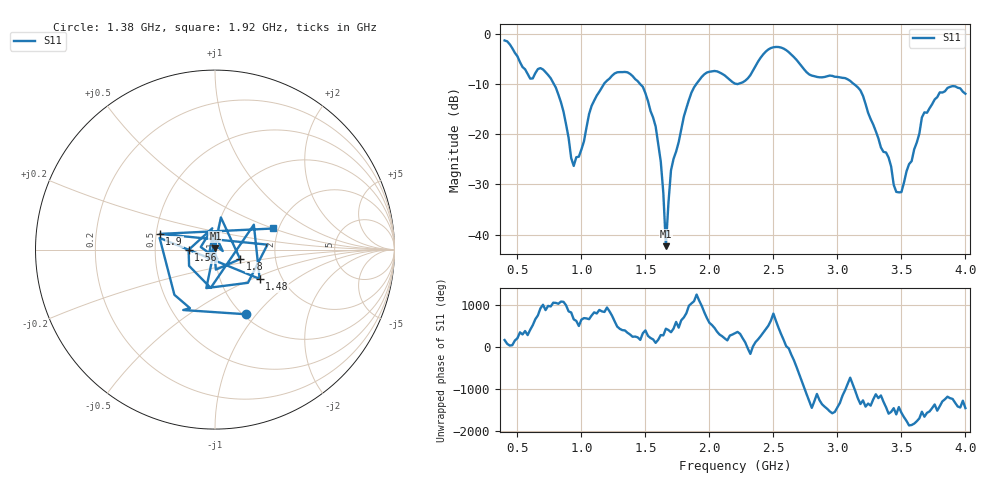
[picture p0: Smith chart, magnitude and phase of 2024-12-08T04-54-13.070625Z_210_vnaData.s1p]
!Created with skrf (http://scikit-rf.org).
# Hz S RI R 50.0
!freq ReS11 ImS11
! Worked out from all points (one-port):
!   181 points, 400 MHz to 4 GHz, reference 50 ohm
!   lowest |S11| = -42.3 dB at 1.66 GHz (marker M1), VSWR 1.02, Z = 50.2 + j0.739 ohm
!   |S11| at or under -10 dB: 785.2 MHz to 1.176 GHz (390.6 MHz wide, 39.8 % of centre); 1.459 GHz to 1.897 GHz (438.2 MHz wide, 26.1 % of centre); 3.13 GHz to end of sweep
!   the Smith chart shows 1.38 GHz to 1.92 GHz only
!   S11 on the Smith chart (normalised r, x): 1.38 GHz: 1.03, -0.89; 1.48 GHz: 1.54, -0.55; 1.56 GHz: 0.74, -0.00; 1.8 GHz: 1.32, -0.14; 1.9 GHz: 0.52, +0.10; 1.92 GHz: 1.88, +0.50
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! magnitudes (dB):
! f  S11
! 400 MHz  -1.3
! 600 MHz  -8.9
! 740 MHz  -8.2
! 860 MHz  -15.5
! 940 MHz  -26.3
! 1.1 GHz  -13.3
! 1.3 GHz  -7.6
! 1.38 GHz  -8.0
! 1.48 GHz  -10.5
! 1.56 GHz  -16.7
! 1.62 GHz  -25.4
! 1.66 GHz  -42.3
! 1.7 GHz  -27.2
! 1.76 GHz  -21.6
! 1.8 GHz  -16.5
! 1.9 GHz  -9.9
! 1.92 GHz  -9.2
! 2.2 GHz  -9.9
! 2.48 GHz  -2.8
! 2.66 GHz  -4.6
! 3.1 GHz  -9.4
! 3.2 GHz  -12.3
! 3.4 GHz  -24.6
! 3.46 GHz  -31.5
! 3.56 GHz  -26.0
! 3.66 GHz  -16.7
! 3.8 GHz  -11.6
! 4 GHz  -11.9
